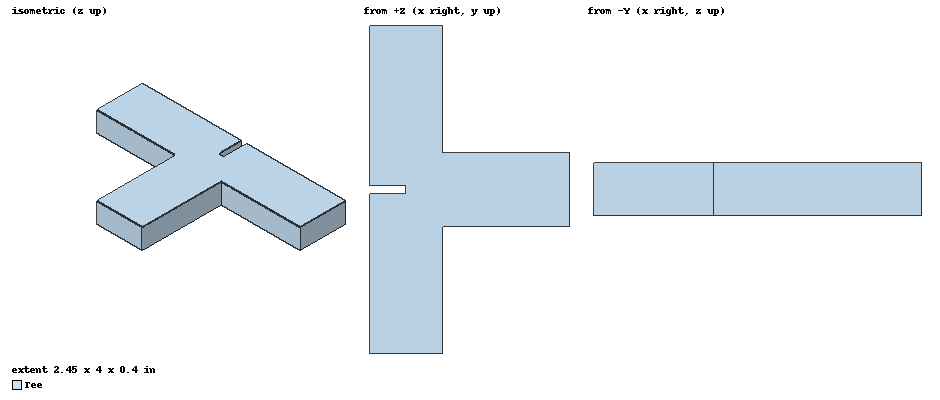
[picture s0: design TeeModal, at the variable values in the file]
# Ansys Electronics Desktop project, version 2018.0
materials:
  vacuum: permittivity=1

design TeeModal (HFSS, DrivenModal, model units in)
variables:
  Offset = 0in
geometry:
  Tee [vacuum] = box(corner=(0in, -0.45in, 0in), size=(2in, 0.9in, 0.4in))
  Tee_1 = Tee.duplicate_around_axis(axis=Z, angle=90deg, total=2)
  Tee_2 = Tee.duplicate_around_axis(axis=Z, angle=-90deg, total=2)
  Tee.unite(Tee_1, Tee_2)
  Septum = box(corner=(-0.45in, Offset-0.05in, 0in), size=(0.45in, 0.1in, 0.4in))
  Tee.subtract(Septum)
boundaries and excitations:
  P1: Wave Port Faces=Tee.face(+x) NumModes=1 Modes{Mode1{IntLine{middle of Tee.edge(5 of 12) -> middle of Tee.edge(1 of 12)} CharImp=Zpi}}
  P2: Wave Port Faces=Tee.face(6 of 6) NumModes=1 Modes{Mode1{IntLine{middle of Tee.edge(5 of 12) -> middle of Tee.edge(1 of 12)} CharImp=Zpi}}
  P3: Wave Port Faces=Tee.face(6 of 6) NumModes=1 Modes{Mode1{IntLine{middle of Tee.edge(5 of 12) -> middle of Tee.edge(1 of 12)} CharImp=Zpi}}
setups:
  Setup1: HfssDriven Frequency=10GHz MaxDeltaS=0.02 MaximumPasses=6 MinimumPasses=1 MinimumConvergedPasses=1 PercentRefinement=30 BasisOrder=1 PortAccuracy=2
    sweep Sweep1: 8GHz to 10GHz step 0.01GHz; Type=Interpolating InterpTolerance=0.5 InterpMaxSolns=250 InterpUsePortImped=false PassivityErrorTolerance=0.0001
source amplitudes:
  P1:1: 1W 0deg
  P2:1, P3:1: 0W 0deg
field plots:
  Mag_E1: E Field over Tee.face(+z) on Setup1 : LastAdaptive at Freq=10GHz Phase=0deg
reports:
  S Parameter Plot 1: dB(S(P1,P1)), dB(S(P2,P1)), dB(S(P3,P1)) vs Freq on Setup1 : Sweep1
